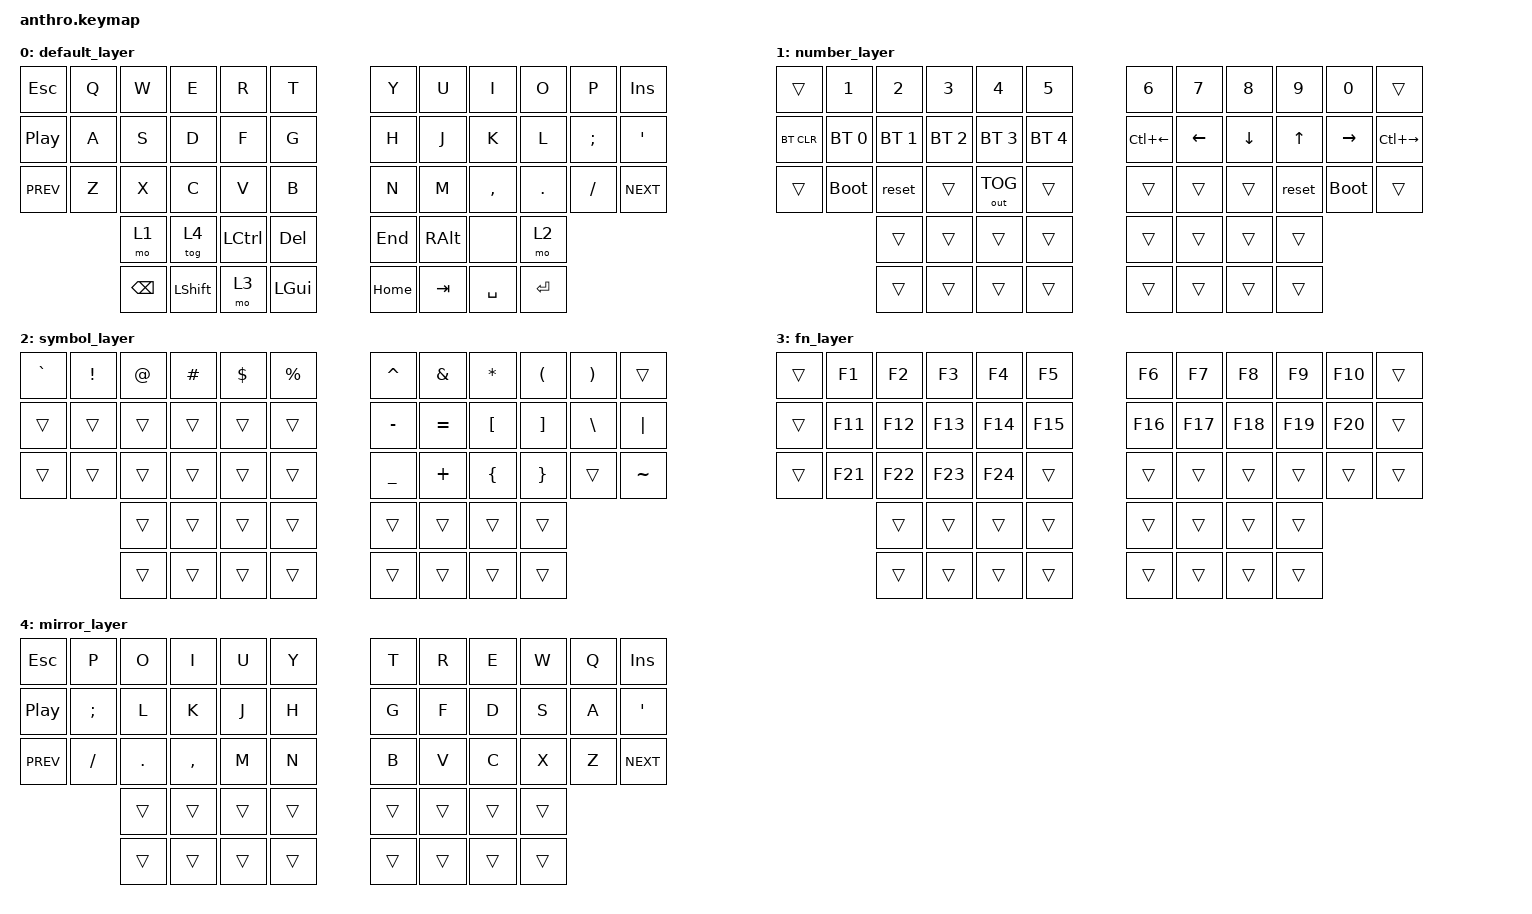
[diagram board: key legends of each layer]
/*
 * Copyright (c) 2020 The ZMK Contributors
 *
 * SPDX-License-Identifier: MIT
 */

#include <behaviors.dtsi>
#include <dt-bindings/zmk/keys.h>
#include <dt-bindings/zmk/bt.h>
#include <dt-bindings/zmk/outputs.h>

#define CLR BT_CLR
#define SEL BT_SEL
#define OTOG OUT_TOG

/ {
        keymap {
                compatible = "zmk,keymap";

                default_layer {
/* -------------------------------------------------------------         ------------------------------------------------------------ */
/* |   ESC   |    Q    |    W    |    E    |    R    |    T    |         |    Y    |    U    |    I    |    O    |    P    | INSERT | */
/* |  PAUSE  |    A    |    S    |    D    |    F    |    G    |         |    H    |    J    |    K    |    L    |    ;    |   '    | */
/* |  PREV   |    Z    |    X    |    C    |    V    |    B    |         |    N    |    M    |    ,    |    .    |    /    |  NEXT  | */
                        /* | NUMBERS | MIRROR  | CONTROL |   DEL   | |   END   |   ALT    |         | SYMBOLS | */
                        /* |  BKSP   |  SHIFT  |  FNCTN  |   GUI   | |  HOME   |   TAB    |  SPACE  |  ENTER  | */
                        bindings = < 
    &kp ESC   &kp Q     &kp W     &kp E     &kp R     &kp T               &kp Y     &kp U     &kp I     &kp O     &kp P     &kp INS
    &kp C_PP  &kp A     &kp S     &kp D     &kp F     &kp G               &kp H     &kp J     &kp K     &kp L     &kp SEMI  &kp SQT
   &kp C_PREV &kp Z     &kp X     &kp C     &kp V     &kp B               &kp N     &kp M     &kp COMMA &kp DOT   &kp FSLH  &kp C_NEXT
                            &mo 1     &tog 4    &kp LCTRL &kp DEL     &kp END   &kp RALT  &none     &mo 2    
                            &kp BSPC  &kp LSHFT &mo 3     &kp LGUI    &kp HOME  &kp TAB   &kp SPACE &kp RET
                        >;
                };

                number_layer {
/* -------------------------------------------------------------         -------------------------------------------------------------------- */
/* |   TAB   |    1    |    2    |    3    |    4    |    5    |         |     6      |   7     |   8     |    9    |    0    |             | */
/* | BT_CLR  |   BT1   |   BT2   |   BT3   |   BT4   |   BT5   |         |   C_LEFT   |  LEFT   |  DOWN   |   UP    |  RIGHT  |   C_RIGHT   | */
/* |  SHIFT  |  LOAD   |  RESET  |         | OUTPUT  |         |         |            |         |         |  RESET  |BOOTLOAD |             | */
                        /* |         |         |         |         | |        |         |         |         | */
                        /* |         |         |         |         | |        |         |         |         | */
                        bindings = <
    &trans    &kp N1    &kp N2    &kp N3    &kp N4    &kp N5              &kp N6       &kp N7    &kp N8    &kp N9    &kp N0    &trans
    &bt CLR   &bt SEL 0 &bt SEL 1 &bt SEL 2 &bt SEL 3 &bt SEL 4           &kp LC(LEFT) &kp LEFT  &kp DOWN  &kp UP    &kp RIGHT &kp LC(RIGHT)
    &trans    &bootloader &reset  &trans    &out OTOG &trans              &trans       &trans    &trans    &reset    &bootloader &trans
                            &trans    &trans    &trans    &trans      &trans   &trans    &trans    &trans   
                            &trans    &trans    &trans    &trans      &trans   &trans    &trans    &trans   
                        >; 
                };

                symbol_layer {
/* -------------------------------------------------------------         -------------------------------------------------------------- */
/* |         |    !    |    @    |    #    |    $    |    %    |         |    ^    |    &    |    *    |    (    |    )    |          | */
/* |         |         |         |         |         |         |         |    -    |    =    |    [    |    ]    |    \    |   "|"    | */
/* |         |         |         |         |         |         |         |    _    |    +    |    {    |    }    |         |    ~     | */
                        /* |         |         |         |         | |        |         |         |         | */
                        /* |         |         |         |         | |        |         |         |         | */
                        bindings = <
    &kp GRAVE &kp EXCL  &kp AT    &kp HASH  &kp DLLR  &kp PRCNT           &kp CARET &kp AMPS  &kp ASTRK &kp LPAR  &kp RPAR  &trans
    &trans    &trans    &trans    &trans    &trans    &trans              &kp MINUS &kp EQUAL &kp LBKT  &kp RBKT  &kp BSLH  &kp PIPE
    &trans    &trans    &trans    &trans    &trans    &trans              &kp UNDER &kp PLUS  &kp LBRC  &kp RBRC  &trans    &kp TILDE
                            &trans    &trans    &trans    &trans      &trans   &trans    &trans    &trans   
                            &trans    &trans    &trans    &trans      &trans   &trans    &trans    &trans   
                        >;
                };

                fn_layer {
/* -------------------------------------------------------------         -------------------------------------------------------------- */
/* |         |   F1    |   F2    |   F3    |   F4    |   F5    |         |   F6    |   F7    |   F8    |   F9    |   F10   |          | */
/* |         |   F11   |   F12   |   F13   |   F14   |   F15   |         |   F16   |   F17   |   F18   |   F19   |   F20   |          | */
/* |         |   F21   |   F22   |   F23   |   F24   |         |         |         |         |         |         |         |          | */
                        /* |         |         |         |         | |        |         |         |         | */
                        /* |         |         |         |         | |        |         |         |         | */
                        bindings = <
    &trans    &kp F1    &kp F2    &kp F3    &kp F4    &kp F5              &kp F6    &kp F7    &kp F8    &kp F9    &kp F10   &trans    
    &trans    &kp F11   &kp F12   &kp F13   &kp F14   &kp F15             &kp F16   &kp F17   &kp F18   &kp F19   &kp F20   &trans    
    &trans    &kp F21   &kp F22   &kp F23   &kp F24   &trans              &trans    &trans    &trans    &trans    &trans    &trans
                            &trans    &trans    &trans    &trans      &trans   &trans    &trans    &trans   
                            &trans    &trans    &trans    &trans      &trans   &trans    &trans    &trans   
                        >;
                };

                mirror_layer {
/* -------------------------------------------------------------         ------------------------------------------------------------ */
/* |   ESC   |    Q    |    W    |    E    |    R    |    T    |         |    Y    |    U    |    I    |    O    |    P    | INSERT | */
/* |  PAUSE  |    A    |    S    |    D    |    F    |    G    |         |    H    |    J    |    K    |    L    |    ;    |   '    | */
/* |  PREV   |    Z    |    X    |    C    |    V    |    B    |         |    N    |    M    |    ,    |    .    |    /    |  NEXT  | */
                        /* | NUMBERS |         | CONTROL |   DEL   | |   END   |   ALT    |         | SYMBOLS | */
                        /* |  BKSP   |  SHIFT  |  FNCTN  |   GUI   | |  HOME   |   TAB    |  SPACE  |  ENTER  | */
                        bindings = < 
    &kp ESC   &kp P     &kp O     &kp I     &kp U     &kp Y               &kp T     &kp R     &kp E     &kp W     &kp Q     &kp INS    
    &kp C_PP  &kp SEMI  &kp L     &kp K     &kp J     &kp H               &kp G     &kp F     &kp D     &kp S     &kp A     &kp SQT    
   &kp C_PREV &kp FSLH  &kp DOT   &kp COMMA &kp M     &kp N               &kp B     &kp V     &kp C     &kp X     &kp Z     &kp C_NEXT 
                            &trans    &trans    &trans    &trans      &trans   &trans    &trans    &trans   
                            &trans    &trans    &trans    &trans      &trans   &trans    &trans    &trans   
                        >;
                };
        };
};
